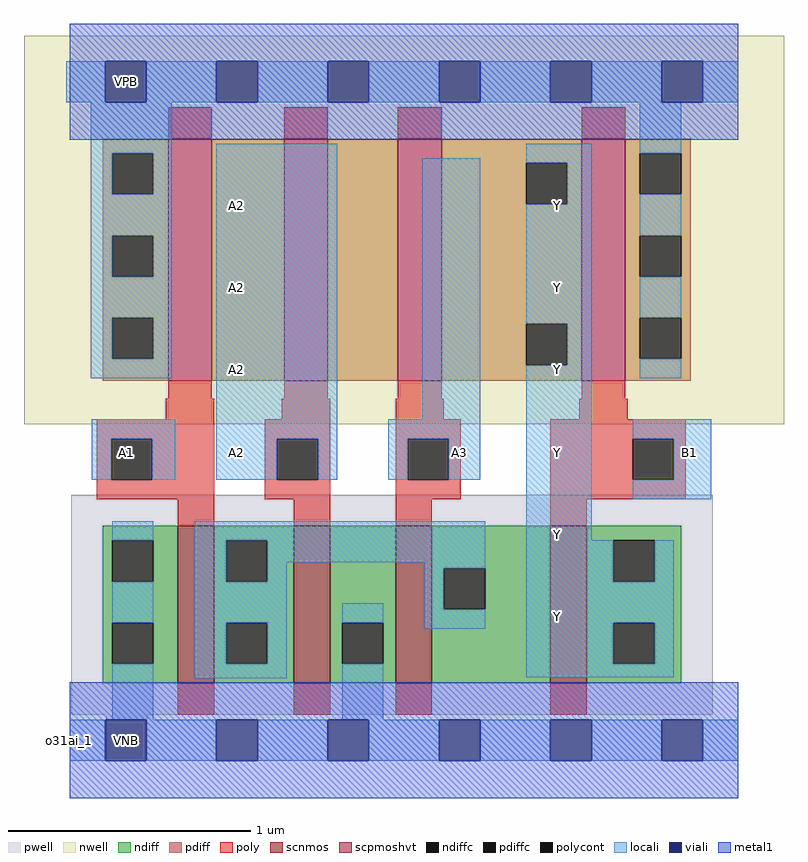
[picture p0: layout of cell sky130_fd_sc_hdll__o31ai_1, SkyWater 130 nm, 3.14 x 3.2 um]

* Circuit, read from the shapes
.subckt sky130_fd_sc_hdll__o31ai_1 A1 A2 A3 B1 VGND VNB VPB VPWR Y
XM1 n1 A1 VGND VNB sky130_fd_pr__nfet_01v8 w=0.65 l=0.15
XM2 VGND A2 n1 VNB sky130_fd_pr__nfet_01v8 w=0.65 l=0.15
XM3 n1 A3 VGND VNB sky130_fd_pr__nfet_01v8 w=0.65 l=0.15
XM4 Y B1 n1 VNB sky130_fd_pr__nfet_01v8 w=0.65 l=0.15
XM5 n2 A1 VPWR VPB sky130_fd_pr__pfet_01v8_hvt w=1 l=0.18
XM6 n3 A2 n2 VPB sky130_fd_pr__pfet_01v8_hvt w=1 l=0.18
XM7 Y A3 n3 VPB sky130_fd_pr__pfet_01v8_hvt w=1 l=0.18
XM8 VPWR B1 Y VPB sky130_fd_pr__pfet_01v8_hvt w=1 l=0.18
.ends

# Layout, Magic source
magic
tech sky130A
magscale 1 2
<< nwell >>
rect -38 261 590 582
<< pwell >>
rect 1 21 531 203
rect 30 -17 64 21
<< scnmos >>
rect 89 47 119 177
rect 185 47 215 177
rect 269 47 299 177
rect 397 47 427 177
<< scpmoshvt >>
rect 81 297 117 497
rect 177 297 213 497
rect 271 297 307 497
rect 423 297 459 497
<< ndiff >>
rect 27 165 89 177
rect 27 131 35 165
rect 69 131 89 165
rect 27 97 89 131
rect 27 63 35 97
rect 69 63 89 97
rect 27 47 89 63
rect 119 165 185 177
rect 119 131 129 165
rect 163 131 185 165
rect 119 97 185 131
rect 119 63 129 97
rect 163 63 185 97
rect 119 47 185 63
rect 215 97 269 177
rect 215 63 225 97
rect 259 63 269 97
rect 215 47 269 63
rect 299 142 397 177
rect 299 108 309 142
rect 343 108 397 142
rect 299 47 397 108
rect 427 165 505 177
rect 427 131 449 165
rect 483 131 505 165
rect 427 97 505 131
rect 427 63 449 97
rect 483 63 505 97
rect 427 47 505 63
<< pdiff >>
rect 27 485 81 497
rect 27 451 35 485
rect 69 451 81 485
rect 27 417 81 451
rect 27 383 35 417
rect 69 383 81 417
rect 27 349 81 383
rect 27 315 35 349
rect 69 315 81 349
rect 27 297 81 315
rect 117 297 177 497
rect 213 297 271 497
rect 307 477 423 497
rect 307 443 377 477
rect 411 443 423 477
rect 307 344 423 443
rect 307 310 377 344
rect 411 310 423 344
rect 307 297 423 310
rect 459 485 513 497
rect 459 451 471 485
rect 505 451 513 485
rect 459 417 513 451
rect 459 383 471 417
rect 505 383 513 417
rect 459 349 513 383
rect 459 315 471 349
rect 505 315 513 349
rect 459 297 513 315
<< ndiffc >>
rect 35 131 69 165
rect 35 63 69 97
rect 129 131 163 165
rect 129 63 163 97
rect 225 63 259 97
rect 309 108 343 142
rect 449 131 483 165
rect 449 63 483 97
<< pdiffc >>
rect 35 451 69 485
rect 35 383 69 417
rect 35 315 69 349
rect 377 443 411 477
rect 377 310 411 344
rect 471 451 505 485
rect 471 383 505 417
rect 471 315 505 349
<< poly >>
rect 81 497 117 523
rect 177 497 213 523
rect 271 497 307 523
rect 423 497 459 523
rect 81 282 117 297
rect 177 282 213 297
rect 271 282 307 297
rect 423 282 459 297
rect 79 265 119 282
rect 175 265 215 282
rect 22 249 119 265
rect 22 215 34 249
rect 68 215 119 249
rect 22 199 119 215
rect 161 249 215 265
rect 161 215 171 249
rect 205 215 215 249
rect 161 199 215 215
rect 89 177 119 199
rect 185 177 215 199
rect 269 265 309 282
rect 421 265 461 282
rect 269 249 323 265
rect 269 215 279 249
rect 313 215 323 249
rect 269 199 323 215
rect 397 249 509 265
rect 397 215 465 249
rect 499 215 509 249
rect 397 199 509 215
rect 269 177 299 199
rect 397 177 427 199
rect 89 21 119 47
rect 185 21 215 47
rect 269 21 299 47
rect 397 21 427 47
<< polycont >>
rect 34 215 68 249
rect 171 215 205 249
rect 279 215 313 249
rect 465 215 499 249
<< locali >>
rect -3 527 29 561
rect 63 527 121 561
rect 155 527 213 561
rect 247 527 305 561
rect 339 527 397 561
rect 431 527 489 561
rect 523 527 552 561
rect 17 485 84 527
rect 17 451 35 485
rect 69 451 84 485
rect 17 417 84 451
rect 17 383 35 417
rect 69 383 84 417
rect 17 349 84 383
rect 17 315 35 349
rect 69 315 84 349
rect 17 299 84 315
rect 18 249 87 265
rect 18 215 34 249
rect 68 215 87 249
rect 121 249 221 493
rect 291 265 339 481
rect 121 215 171 249
rect 205 215 221 249
rect 263 249 339 265
rect 263 215 279 249
rect 313 215 339 249
rect 377 477 431 493
rect 411 443 431 477
rect 377 344 431 443
rect 411 310 431 344
rect 35 165 69 181
rect 35 97 69 131
rect 35 17 69 63
rect 103 165 343 181
rect 103 131 129 165
rect 163 147 343 165
rect 163 131 179 147
rect 103 97 179 131
rect 293 142 343 147
rect 103 63 129 97
rect 163 63 179 97
rect 103 51 179 63
rect 225 97 259 113
rect 293 108 309 142
rect 293 92 343 108
rect 377 165 431 310
rect 471 485 505 527
rect 471 417 505 451
rect 471 349 505 383
rect 471 299 505 315
rect 465 249 530 265
rect 499 215 530 249
rect 465 199 530 215
rect 377 131 449 165
rect 483 131 499 165
rect 377 97 499 131
rect 225 17 259 63
rect 377 63 449 97
rect 483 63 499 97
rect 377 52 499 63
rect 0 -17 29 17
rect 63 -17 121 17
rect 155 -17 213 17
rect 247 -17 305 17
rect 339 -17 397 17
rect 431 -17 489 17
rect 523 -17 552 17
<< viali >>
rect 29 527 63 561
rect 121 527 155 561
rect 213 527 247 561
rect 305 527 339 561
rect 397 527 431 561
rect 489 527 523 561
rect 29 -17 63 17
rect 121 -17 155 17
rect 213 -17 247 17
rect 305 -17 339 17
rect 397 -17 431 17
rect 489 -17 523 17
<< metal1 >>
rect 0 561 552 592
rect 0 527 29 561
rect 63 527 121 561
rect 155 527 213 561
rect 247 527 305 561
rect 339 527 397 561
rect 431 527 489 561
rect 523 527 552 561
rect 0 496 552 527
rect 0 17 552 48
rect 0 -17 29 17
rect 63 -17 121 17
rect 155 -17 213 17
rect 247 -17 305 17
rect 339 -17 397 17
rect 431 -17 489 17
rect 523 -17 552 17
rect 0 -48 552 -17
<< labels >>
flabel locali s 386 85 420 119 0 FreeSans 200 0 0 0 Y
port 9 nsew signal output
flabel locali s 121 289 155 323 0 FreeSans 200 0 0 0 A2
port 2 nsew signal input
flabel locali s 386 153 420 187 0 FreeSans 200 0 0 0 Y
port 9 nsew signal output
flabel locali s 30 221 64 255 0 FreeSans 200 0 0 0 A1
port 1 nsew signal input
flabel locali s 121 221 155 255 0 FreeSans 200 0 0 0 A2
port 2 nsew signal input
flabel locali s 305 221 339 255 0 FreeSans 200 0 0 0 A3
port 3 nsew signal input
flabel locali s 495 221 529 255 0 FreeSans 200 0 0 0 B1
port 4 nsew signal input
flabel locali s 121 425 155 459 0 FreeSans 200 0 0 0 A2
port 2 nsew signal input
flabel locali s 121 357 155 391 0 FreeSans 200 0 0 0 A2
port 2 nsew signal input
flabel locali s 386 221 420 255 0 FreeSans 200 0 0 0 Y
port 9 nsew signal output
flabel locali s 386 289 420 323 0 FreeSans 200 0 0 0 Y
port 9 nsew signal output
flabel locali s 386 357 420 391 0 FreeSans 200 0 0 0 Y
port 9 nsew signal output
flabel locali s 386 425 420 459 0 FreeSans 200 0 0 0 Y
port 9 nsew signal output
flabel nwell s 30 527 64 561 0 FreeSans 200 0 0 0 VPB
port 7 nsew power bidirectional
flabel pwell s 30 -17 64 17 0 FreeSans 200 0 0 0 VNB
port 6 nsew ground bidirectional
flabel metal1 s 30 527 64 561 0 FreeSans 200 0 0 0 VPWR
port 8 nsew power bidirectional
flabel metal1 s 30 -17 64 17 0 FreeSans 200 0 0 0 VGND
port 5 nsew ground bidirectional
rlabel comment s 0 0 0 0 4 o31ai_1
<< properties >>
string LEFsite unithd
string LEFclass CORE
string FIXED_BBOX 0 0 552 544
string GDS_FILE $PDKPATH/libs.ref/sky130_fd_sc_hdll/gds/sky130_fd_sc_hdll.gds
string LEFsymmetry X Y R90
string GDS_END 606400
string GDS_START 600188
string LEFproperties maskLayoutSubType "abstract" prCellType "standard" originalViewName "layout"
<< end >>
